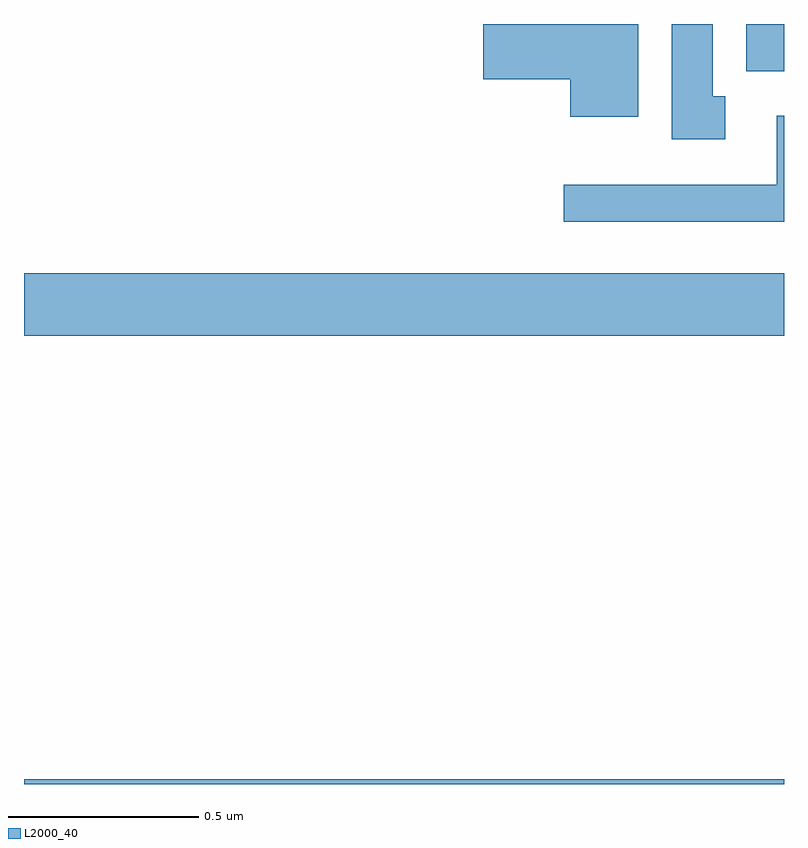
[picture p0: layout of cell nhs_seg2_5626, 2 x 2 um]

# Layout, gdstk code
import gdstk
lib = gdstk.Library(unit=1e-6, precision=1e-09)
def R(c, l, rs):  # rectangles x0, y0, x1, y1
    for r in rs: c.add(gdstk.rectangle(r[:2], r[2:], *l))
def P(c, l, *ps):  # polygons
    for p in ps: c.add(gdstk.Polygon(p, *l))
L2000_40 = (2000, 40)

nhs_seg2_5626 = lib.new_cell('nhs_seg2_5626')
R(nhs_seg2_5626, L2000_40, [(181,635.8,183,635.812), (181,636.98,183,637.144), (182.9,637.676,183,637.8)])
P(nhs_seg2_5626, L2000_40, [(182.617,637.8),(182.208,637.8),(182.208,637.655),(182.438,637.655),(182.438,637.556),(182.617,637.556)],
  [(182.845,637.61),(182.812,637.61),(182.812,637.8),(182.705,637.8),(182.705,637.497),(182.845,637.497)],
  [(183,637.558),(182.981,637.558),(182.981,637.377),(182.421,637.377),(182.421,637.28),(183,637.28)])

lib.write_gds('nhs_seg2_5626.gds')
